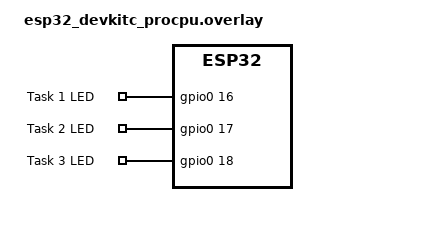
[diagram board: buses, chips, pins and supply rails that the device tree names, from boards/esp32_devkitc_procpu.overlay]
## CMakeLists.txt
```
cmake_minimum_required(VERSION 3.20.0)

find_package(Zephyr REQUIRED HINTS $ENV{ZEPHYR_BASE})
project(pcp_app)

zephyr_linker_sources(DATA_SECTIONS data-sections-ram.ld)
zephyr_linker_sources(SECTIONS sections-rom.ld)

target_sources(app PRIVATE src/main.c src/tasks.c src/critical_section.c src/display.c)
```

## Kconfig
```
mainmenu "TDA App"

config NUM_TASKS
  int "Number of tasks"
  default 3

config TASK1_PERIOD_MS
  int "Period of TASK1" 
  default 10000

config TASK1_EXECUTION_TIME_MS
  int "Period of TASK1" 
  default 1000

config TASK1_RELEASE_MS
  int "Period of TASK1" 
  default 0

config TASK1_PRIORITY
  int "Priority of TASK1" 
  default 0

config TASK2_PERIOD_MS
  int "Period of TASK2" 
  default 10000

config TASK2_EXECUTION_TIME_MS
  int "Period of TASK2" 
  default 1000

config TASK2_RELEASE_MS
  int "Period of TASK2" 
  default 0

config TASK2_PRIORITY
  int "Priority of TASK2" 
  default 0

config TASK3_PERIOD_MS
  int "Period of TASK3" 
  default 10000

config TASK3_EXECUTION_TIME_MS
  int "Period of TASK3" 
  default 1000

config TASK3_RELEASE_MS
  int "Period of TASK3" 
  default 0

config TASK3_PRIORITY
  int "Priority of TASK3" 
  default 0

source "Kconfig.zephyr"
```

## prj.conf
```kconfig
CONFIG_GPIO=y
CONFIG_BOOTLOADER_MCUBOOT=y

CONFIG_DISPLAY=y
CONFIG_CHARACTER_FRAMEBUFFER=y
CONFIG_CBPRINTF_FP_SUPPORT=y

# Activate logging to get error/warnings for SSD1306 initialization
#CONFIG_LOG=y
#CONFIG_LOG_DEFAULT_LEVEL=3

# Task Configuration
CONFIG_NUM_TASKS=3

CONFIG_TASK1_PERIOD_MS=15000
CONFIG_TASK1_EXECUTION_TIME_MS=4000
CONFIG_TASK1_RELEASE_MS=3000
CONFIG_TASK1_PRIORITY=0

CONFIG_TASK2_PERIOD_MS=16000
CONFIG_TASK2_EXECUTION_TIME_MS=4000
CONFIG_TASK2_RELEASE_MS=6000
CONFIG_TASK2_PRIORITY=1

CONFIG_TASK3_PERIOD_MS=14000
CONFIG_TASK3_EXECUTION_TIME_MS=6000
CONFIG_TASK3_RELEASE_MS=0
CONFIG_TASK3_PRIORITY=2
```

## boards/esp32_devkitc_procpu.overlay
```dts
/ {
    custom_gpio {
        compatible = "gpio-keys";

        task1_led: task1_led {
            gpios = <&gpio0 16 GPIO_ACTIVE_HIGH>;
            label = "Task 1 LED";
        };
        task2_led: task2_led {
            gpios = <&gpio0 17 GPIO_ACTIVE_HIGH>;
            label = "Task 2 LED";
        };
        task3_led: task3_led {
            gpios = <&gpio0 18 GPIO_ACTIVE_HIGH>;
            label = "Task 3 LED";
        };
    };

    chosen {
        task1_led = &task1_led;
        task2_led = &task2_led;
        task3_led = &task3_led;
        // display = &ssd1306;
    };
};

// Optional: Add your SSD1306 configuration from the previous assignments and uncomment the *display* line above 
```

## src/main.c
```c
#include <zephyr/kernel.h>

#include "tasks.h"
#include "critical_section.h"

K_THREAD_STACK_ARRAY_DEFINE(task_stacks, CONFIG_NUM_TASKS, STACKSIZE);

// Setup Tasks T1, T2, T3
PERIODIC_TASK_SETUP(1);
PERIODIC_TASK_SETUP(2);
PERIODIC_TASK_SETUP(3);

// Setup Resources R1, R2
RESOURCE_SETUP(1);
RESOURCE_SETUP(2);
RESOURCE_SETUP(3);

// Specific Critical Sections
CRITICAL_SECTION_SETUP(T1, R1, 2000, 3000);
CRITICAL_SECTION_SETUP(T1, R2, 1000, 4000);

CRITICAL_SECTION_SETUP(T2, R3, 1000, 2000);
CRITICAL_SECTION_SETUP(T2, R1, 2000, 3000);

CRITICAL_SECTION_SETUP(T3, R1, 1000, 5000);
CRITICAL_SECTION_SETUP(T3, R2, 4000, 5000);

int main()
{
	// Check if tasks are accepted and initialize them (GPIO pin and CS). As Zephyr's dlist can
	// have some overhead, this is kept separate to the thread initialization.
	STRUCT_SECTION_FOREACH(task_params, params) {
		printf("Task %d: blocking time %d\n", params->task_id, blocking_time(params));
		if (acceptance_test(params)) {
			printf("Task %d: accepted\n", params->task_id);
			periodic_task_initialization(params);
		} else {
			printf("Task %d: rejected\n", params->task_id);
		}
	}

	start_time_keeper();
	initialize_priority_ceilings();

	STRUCT_SECTION_FOREACH(task_params, params) {
		if (params->accepted) {
			k_thread_create(params->thread, task_stacks[params->task_id], STACKSIZE,
					params->func, params, NULL, NULL, params->priority, 0,
					K_MSEC(params->release_ms));
		}
	}

	return 0;
}
```

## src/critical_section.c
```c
#include "critical_section.h"
#include "tasks.h"
#include <assert.h>

/* Global array to store pre-calculated resource ceilings */
static int resource_ceilings[3];

/*
 * TODO (Part b): Initialize resource priority ceilings and system ceiling
 */
void initialize_priority_ceilings()
{
    resource_ceilings[0] = 0; 
    resource_ceilings[1] = 0; 
    resource_ceilings[2] = 1;
}

/*
 * TODO (Part b): Locks the resource and elevates priority immediately (IPCP)
 */
int mutex_lock(struct resource_params *r)
{
    k_tid_t current_thread = k_current_get();
    int ceiling = resource_ceilings[r->id - 1];
    int err = k_mutex_lock(r->mutex, K_FOREVER);
    if (err != 0) {
        return err;
    }
    if (k_thread_priority_get(current_thread) > ceiling) {
        k_thread_priority_set(current_thread, ceiling);
    }

    return 0;
}

/*
 * TODO (Part b): Unlock the resource and restore priority
 */
int mutex_unlock(struct resource_params *r, const struct task_params *params)
{
    int err = k_mutex_unlock(r->mutex);
    if (err != 0) {
        return err;
    }
    k_thread_priority_set(k_current_get(), params->priority);

    return 0;
}

/*
 * TODO (Part c): Compute maximum blocking time Bi induced by (I)PCP [cite: 77]
 */
int blocking_time(const struct task_params *params)
{
    int max_b = 0;
    int my_prio = params->priority;

    STRUCT_SECTION_FOREACH(critical_section_params, cs) 
	{
        if (cs->task->priority > my_prio) {
            int ceiling = resource_ceilings[cs->resource->id - 1];
            if (ceiling <= my_prio) {
                int duration = cs->release_time - cs->access_time;
                if (duration > max_b) {
                    max_b = duration;
                }
            }
        }
    }
    return max_b;
}
```

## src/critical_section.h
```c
#pragma once

#include <zephyr/kernel.h>
#include <zephyr/sys/dlist.h>

struct resource_params {
	uint32_t id;
	int priority_ceiling;
	struct k_mutex *mutex;
};

struct task_params;
struct task_critical_section;
struct critical_section_params {
	struct task_params *task;
	struct resource_params *resource;
	struct task_critical_section *task_cs;
	int access_time;
	int release_time;
};

struct task_critical_section {
	struct critical_section_params *cs;
	sys_dnode_t access_node;
	sys_dnode_t release_node;
};

/*
 * @brief Initialize resource priority ceilings and system ceiling
 */
void initialize_priority_ceilings();

/*
 * @brief Blocks the current thread until it is safe to lock the resource
 *
 * The semantic of this method depends on PIP (default), IPCP, or PCP:
 *  - PIP: Utilizes the normal mutex provided by Zephyr (see
 *    https://docs.zephyrproject.org/latest/kernel/services/synchronization/mutexes.html)
 *  - IPCP: Locks the resource if and only if the thread's priority exceeds the system ceiling.
 *    If so, the thread's priority is immediately elevated to the resource ceiling.
 *  - PCP: Locks the resource if and only if the thread's priority exceeds the system ceiling.
 *    If it is unable to do so (i.e., due to priority ceiling blocking), elevate the priority
 *    of the thread that holds the resource associated with the system ceiling.
 */
int mutex_lock(struct resource_params *resource);

/*
 * @brief Unlocks the resource
 *
 * The semantic of this method depends on PIP (default), IPCP, or PCP:
 *  - PIP: Utilizes the normal mutex provided by Zephyr (see
 *    https://docs.zephyrproject.org/latest/kernel/services/synchronization/mutexes.html)
 *  - IPCP & PCP: Unlocks the mutex and resets the thread's priority accordingly.
 */
int mutex_unlock(struct resource_params *resource, const struct task_params *params);

/*
 * @brief Compute the maximum blocking time of the given task under the assumption that
 * all lower-priority tasks are scheduled.
 */
int blocking_time(const struct task_params *params);

#define RESOURCE_SETUP(resource_id)                                                                \
	K_MUTEX_DEFINE(R##resource_id##_mutex);                                                    \
	static STRUCT_SECTION_ITERABLE(resource_params, resource_R##resource_id##_) = {            \
		.id = resource_id, .priority_ceiling = 0, .mutex = &R##resource_id##_mutex};

#define CRITICAL_SECTION_SETUP(task_id, resource_id, t1, t2)                                       \
	__maybe_unused static struct task_critical_section                                         \
		task_##task_id##_cs_##resource_id##_##t1##_##t2##_cs;                              \
	static STRUCT_SECTION_ITERABLE(critical_section_params,                                    \
				       task_##task_id##_cs_##resource_id##_##t1##_##t2##_) = {     \
		.task = &task_##task_id##_params,                                                  \
		.resource = &resource_##resource_id##_,                                            \
		.task_cs = &task_##task_id##_cs_##resource_id##_##t1##_##t2##_cs,                  \
		.access_time = t1,                                                                 \
		.release_time = t2,                                                                \
	};
```

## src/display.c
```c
#include "display.h"

#include <zephyr/kernel.h>

#if DT_HAS_CHOSEN(display)
#include <zephyr/device.h>
#include <zephyr/drivers/display.h>

#include <zephyr/display/cfb.h>
#include <zephyr/drivers/display.h>

#include "tasks.h"
#include "critical_section.h"

#define SSD1306 DT_CHOSEN(display)
static const struct device *dev = DEVICE_DT_GET(SSD1306);

static const uint32_t icon_width = 40;
static const uint32_t icon_height = 40;

int ssd1306_setup(void)
{
	if (!device_is_ready(dev)) {
		printf("ERROR: Display device not ready");
		return -EIO;
	}

	if (display_set_pixel_format(dev, PIXEL_FORMAT_MONO01)) {
		printf("ERROR: Failed to set required pixel format");
		return -EIO;
	}

	if (display_blanking_off(dev)) {
		printf("ERROR: Failed to turn off display blanking");
		return -EIO;
	}

	if (cfb_framebuffer_init(dev)) {
		printf("ERROR: Failed to initialize character framebuffer");
		return -EIO;
	}
	cfb_framebuffer_invert(dev);
	cfb_framebuffer_clear(dev, true);
	return 0;
}
SYS_INIT(ssd1306_setup, APPLICATION, CONFIG_KERNEL_INIT_PRIORITY_DEVICE);

/* @brief Draw bitmap
 *
 * @param dev	  pointer to device structure for driver instance
 * @param bitmap  bitmap of size 40x40
 *
 * @return 0 on success, negative value otherwise
 */
int cfb_draw_bitmap(const struct device *dev, const unsigned char *bitmap,
		    struct cfb_position offset)
{
	struct cfb_position pos;
	uint16_t byteWidth = icon_width / 8;
	for (pos.y = 0; pos.y < icon_height; pos.y++) {
		for (pos.x = 0; pos.x < icon_width; pos.x++) {
			if (bitmap[pos.y * byteWidth + pos.x / 8] & (128 >> (pos.x & 7))) {
				struct cfb_position pos_display = {
					.x = pos.x + offset.x,
					.y = pos.y + offset.y,
				};
				cfb_draw_point(dev, &pos_display);
			}
		}
	}

	return 0;
}

const unsigned char bitmap_x[] = {
	0x00, 0x00, 0x00, 0x00, 0x00, 0x00, 0x00, 0x00, 0x00, 0x00, 0x00, 0x00, 0x00, 0x00, 0x00,
	0x00, 0x00, 0x00, 0x00, 0x00, 0x00, 0xe0, 0x00, 0x01, 0x80, 0x01, 0xf0, 0x00, 0x07, 0xe0,
	0x03, 0xf8, 0x00, 0x0f, 0xf0, 0x07, 0xfc, 0x00, 0x3f, 0xf8, 0x0f, 0xfe, 0x00, 0x7f, 0xf8,
	0x1f, 0xff, 0x00, 0xff, 0xf8, 0x3f, 0xff, 0x81, 0xff, 0xf8, 0x1f, 0xff, 0xc3, 0xff, 0xf8,
	0x0f, 0xff, 0xe7, 0xff, 0xf0, 0x07, 0xff, 0xff, 0xff, 0xe0, 0x03, 0xff, 0xff, 0xff, 0xc0,
	0x01, 0xff, 0xff, 0xff, 0x80, 0x00, 0xff, 0xff, 0xff, 0x00, 0x00, 0x7f, 0xff, 0xfe, 0x00,
	0x00, 0x3f, 0xff, 0xfc, 0x00, 0x00, 0x1f, 0xff, 0xf8, 0x00, 0x00, 0x0f, 0xff, 0xf0, 0x00,
	0x00, 0x0f, 0xff, 0xf0, 0x00, 0x00, 0x1f, 0xff, 0xf8, 0x00, 0x00, 0x3f, 0xff, 0xfc, 0x00,
	0x00, 0x7f, 0xff, 0xfe, 0x00, 0x00, 0xff, 0xff, 0xff, 0x00, 0x01, 0xff, 0xff, 0xff, 0x80,
	0x03, 0xff, 0xff, 0xff, 0xc0, 0x07, 0xff, 0xff, 0xff, 0xf0, 0x0f, 0xff, 0xe7, 0xff, 0xf8,
	0x1f, 0xff, 0xc3, 0xff, 0xfc, 0x1f, 0xff, 0x81, 0xff, 0xfc, 0x1f, 0xff, 0x00, 0xff, 0xf8,
	0x1f, 0xfe, 0x00, 0x3f, 0xf0, 0x1f, 0xfc, 0x00, 0x1f, 0xe0, 0x0f, 0xf8, 0x00, 0x0f, 0xc0,
	0x07, 0xf0, 0x00, 0x07, 0x80, 0x01, 0x80, 0x00, 0x03, 0x00, 0x00, 0x00, 0x00, 0x00, 0x00,
	0x00, 0x00, 0x00, 0x00, 0x00};

const unsigned char bitmap_coffee[] = {
	0x00, 0x00, 0x00, 0x00, 0x00, 0x00, 0x00, 0x00, 0x00, 0x00, 0x00, 0x00, 0x00, 0x00, 0x00,
	0x00, 0x00, 0x00, 0x00, 0x00, 0x00, 0x00, 0x00, 0x00, 0x00, 0x00, 0x00, 0x00, 0x00, 0x00,
	0x00, 0x00, 0x00, 0x00, 0x00, 0x00, 0x0f, 0xff, 0xe0, 0x00, 0x00, 0x70, 0x00, 0x1c, 0x00,
	0x01, 0x8f, 0xff, 0xc6, 0x00, 0x01, 0x3f, 0xff, 0xf2, 0x00, 0x00, 0x3f, 0xff, 0xf9, 0xf0,
	0x01, 0x8f, 0xff, 0xc7, 0xf8, 0x01, 0xc0, 0x00, 0x3f, 0xf8, 0x01, 0xcf, 0xff, 0xff, 0x1c,
	0x01, 0xcf, 0xff, 0xfe, 0x1c, 0x01, 0xdf, 0xff, 0xfe, 0x0c, 0x01, 0xd7, 0xff, 0xfe, 0x0c,
	0x01, 0xb7, 0xff, 0xfe, 0x0c, 0x01, 0xaf, 0xff, 0xfe, 0x0c, 0x01, 0xeb, 0xff, 0xfe, 0x18,
	0x01, 0xd5, 0xff, 0xfe, 0x18, 0x00, 0xf7, 0xff, 0xfc, 0x30, 0x00, 0xeb, 0xff, 0xfc, 0xe0,
	0x00, 0xf5, 0xbf, 0xbf, 0xc0, 0x00, 0x7a, 0xe0, 0xff, 0x80, 0x01, 0x7f, 0xdf, 0xfe, 0x00,
	0x0d, 0xbf, 0xff, 0xf2, 0x40, 0x17, 0xdf, 0xff, 0xef, 0xa0, 0x37, 0xef, 0xff, 0xdf, 0xd0,
	0x37, 0xf7, 0xff, 0xbf, 0xd0, 0x13, 0xfd, 0xfe, 0xff, 0xa0, 0x0c, 0x7f, 0x03, 0xfc, 0xc0,
	0x03, 0x81, 0xfe, 0x07, 0x00, 0x00, 0x7f, 0xc7, 0xf8, 0x00, 0x00, 0x03, 0xff, 0xc0, 0x00,
	0x00, 0x00, 0x00, 0x00, 0x00, 0x00, 0x00, 0x00, 0x00, 0x00, 0x00, 0x00, 0x00, 0x00, 0x00,
	0x00, 0x00, 0x00, 0x00, 0x00};

const unsigned char bitmap_gear[] = {
	0x00, 0x00, 0x00, 0x00, 0x00, 0x00, 0x00, 0x00, 0x00, 0x00, 0x00, 0x00, 0x3e, 0x00, 0x00,
	0x00, 0x00, 0x7e, 0x00, 0x00, 0x00, 0x00, 0x7f, 0x00, 0x00, 0x00, 0x00, 0x7f, 0x00, 0x00,
	0x00, 0xe0, 0xff, 0x07, 0x00, 0x01, 0xf3, 0xff, 0xcf, 0x80, 0x03, 0xff, 0xff, 0xff, 0xc0,
	0x07, 0xff, 0xff, 0xff, 0xe0, 0x03, 0xff, 0xff, 0xff, 0xe0, 0x01, 0xff, 0xff, 0xff, 0xc0,
	0x01, 0xff, 0xff, 0xff, 0x80, 0x01, 0xff, 0xff, 0xff, 0x80, 0x01, 0xff, 0xc1, 0xff, 0x80,
	0x03, 0xff, 0x00, 0xff, 0xc0, 0x1f, 0xfe, 0x00, 0x7f, 0xf0, 0x3f, 0xfc, 0x00, 0x3f, 0xfc,
	0x3f, 0xfc, 0x00, 0x3f, 0xfc, 0x3f, 0xfc, 0x00, 0x3f, 0xfc, 0x3f, 0xfc, 0x00, 0x3f, 0xfc,
	0x3f, 0xfc, 0x00, 0x3f, 0xfc, 0x3f, 0xfe, 0x00, 0x7f, 0xfc, 0x03, 0xff, 0x00, 0x7f, 0xc0,
	0x01, 0xff, 0x81, 0xff, 0xc0, 0x01, 0xff, 0xff, 0xff, 0x80, 0x01, 0xff, 0xff, 0xff, 0x80,
	0x01, 0xff, 0xff, 0xff, 0x80, 0x03, 0xff, 0xff, 0xff, 0xc0, 0x07, 0xff, 0xff, 0xff, 0xe0,
	0x03, 0xff, 0xff, 0xff, 0xe0, 0x01, 0xff, 0xff, 0xff, 0xc0, 0x00, 0xe1, 0xff, 0x87, 0x80,
	0x00, 0x40, 0xff, 0x02, 0x00, 0x00, 0x00, 0x7f, 0x00, 0x00, 0x00, 0x00, 0x7e, 0x00, 0x00,
	0x00, 0x00, 0x7e, 0x00, 0x00, 0x00, 0x00, 0x00, 0x00, 0x00, 0x00, 0x00, 0x00, 0x00, 0x00,
	0x00, 0x00, 0x00, 0x00, 0x00};

const unsigned char *bitmaps[] = {bitmap_x, bitmap_coffee, bitmap_gear};

void ssd1306_print_resource()
{
	if (!device_is_ready(dev)) {
		printf("ERROR: Display device not ready");
		printf("Check your wiring or try reconnecting your USB cable");
		return;
	}

	cfb_framebuffer_clear(dev, false);
	STRUCT_SECTION_FOREACH(critical_section_params, cs) {
		if (cs->resource->mutex->owner == cs->task->thread) {
			struct cfb_position offset = {
				.x = 2 + ((cs->resource->id - 1) % 3) * icon_width,
				.y = 12,
			};
			cfb_draw_bitmap(dev, bitmaps[(cs->task->task_id - 1) % 3], offset);
		}
	}

	cfb_framebuffer_finalize(dev);
}

#else

void ssd1306_print_resource()
{
}

#endif
```

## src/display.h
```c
#pragma once

void ssd1306_print_resource();
```

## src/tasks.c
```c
#include <assert.h>
#include <stdio.h>
#include <zephyr/sys/dlist.h>

#include "tasks.h"
#include "display.h"

/**
 * TODO (Part c): Time-demand analysis for periodic tasks, accounting for (I)PCP blocking time
 * (You can largely reuse your solution of the second practical assignment.)
 */
bool acceptance_test(struct task_params *params)
{
    int Ci = params->execution_time_ms;
    int Pi = params->period_ms;
    int Bi = blocking_time(params); 
    int t = Ci + Bi;
    int prev_t;

    while (t <= Pi) {
        prev_t = t;
        int demand = Ci + Bi;
        STRUCT_SECTION_FOREACH(task_params, hp_task) {
            if (hp_task->priority < params->priority) {
                demand += ((t + hp_task->period_ms - 1) / hp_task->period_ms) * hp_task->execution_time_ms;
            }
        }

        if (demand <= t) {
            params->accepted = true;
            return true;
        }
        
        t = demand;
        if (t == prev_t) break;
    }

    params->accepted = false;
    return false;
}

/**
 * @brief Let LED blink for (roughly) delay_ms.
 *
 * @param params    Task parameters
 * @param duration  Duration in ms
 */
void useless_load_periodic_tasks(struct task_params *params, int32_t duration)
{
	assert(params->execution_time_ms % BLINK_PERIOD_MS == 0 && BLINK_PERIOD_MS % 2 == 0);
	ssd1306_print_resource();

	for (int32_t d = 0; d < duration; d += BLINK_PERIOD_MS) {
		printf(" Task %d (prio %d)\n", params->task_id,
		       k_thread_priority_get(k_current_get()));
		gpio_pin_set_dt(params->led, 1);
		k_busy_wait(BLINK_PERIOD_MS * 1000 / 2);
		gpio_pin_set_dt(params->led, 0);
		k_busy_wait(BLINK_PERIOD_MS * 1000 / 2);
	}
}

/*
 * @brief Comparator to sort the double-linked list by the CS access time
 */
int sort_by_access(sys_dnode_t *succ, void *data)
{
	struct critical_section_params *cs = (struct critical_section_params *)data;
	struct task_critical_section *cs_succ = SYS_DLIST_CONTAINER(succ, cs_succ, access_node);
	return cs_succ->cs->access_time > cs->access_time;
}

/*
 * @brief Comparator to sort the double-linked list by the CS release time
 */
int sort_by_release(sys_dnode_t *succ, void *data)
{
	struct critical_section_params *cs = (struct critical_section_params *)data;
	struct task_critical_section *cs_succ = SYS_DLIST_CONTAINER(succ, cs_succ, release_node);
	return cs_succ->cs->release_time > cs->release_time;
}

/*
 * @brief Sort the CS of this task according to their access and release time (respectively)
 * to simplify operation later on, where we have to decide which mutex to lock/unlock.
 */
void initialize_critical_sections(struct task_params *params)
{
	STRUCT_SECTION_FOREACH(critical_section_params, p) {
		if (p->task->task_id == params->task_id) {
			p->task_cs->cs = p;
			sys_dnode_init(&p->task_cs->access_node);
			sys_dlist_insert_at(&params->cs->by_access, &p->task_cs->access_node,
					    sort_by_access, p);
			sys_dnode_init(&p->task_cs->release_node);
			sys_dlist_insert_at(&params->cs->by_release, &p->task_cs->release_node,
					    sort_by_release, p);
		}
	}

	struct task_critical_section *t_cs;
	printf("Critical Sections of Task%d:\n", params->task_id);
	printf(" Sorted by Access: ");
	SYS_DLIST_FOR_EACH_CONTAINER(&params->cs->by_access, t_cs, access_node) {
		struct critical_section_params *c = t_cs->cs;
		printf("R%d[%d, %d] ", c->resource->id, c->access_time, c->release_time);
	}
	printf("\n Sorted by Release: ");
	SYS_DLIST_FOR_EACH_CONTAINER(&params->cs->by_release, t_cs, release_node) {
		struct critical_section_params *c = t_cs->cs;
		printf("R%d[%d, %d] ", c->resource->id, c->access_time, c->release_time);
	}
	printf("\n");
}

/*
 * @brief Initialized the GPIO pin used for the LED
 */
void initialize_gpio(struct task_params *params)
{
	if (!gpio_is_ready_dt(params->led)) {
		return;
	}
	int ret = gpio_pin_configure_dt(params->led, GPIO_OUTPUT_ACTIVE);
	if (ret < 0) {
		return;
	}
}

/*
 * @brief Check if a CS needs to be accessed at this time
 */
struct task_critical_section *check_access_cs(int32_t exec_time, struct task_params *params,
					      struct task_critical_section *next_access)
{
	while (next_access != NULL && exec_time == next_access->cs->access_time) {
		printf(" Task %d requests R%d\n", params->task_id, next_access->cs->resource->id);
		mutex_lock(next_access->cs->resource);
		printf(" Task %d locks R%d\n", params->task_id, next_access->cs->resource->id);
		next_access = SYS_DLIST_PEEK_NEXT_CONTAINER(&params->cs->by_access, next_access,
							    access_node);
	}
	return next_access;
}

/*
 * @brief Check if a CS needs to be released at this time
 */
struct task_critical_section *check_release_cs(int32_t exec_time, struct task_params *params,
					       struct task_critical_section *next_release)
{
	while (next_release != NULL && exec_time == next_release->cs->release_time) {
		printf(" Task %d unlocks R%d\n", params->task_id, next_release->cs->resource->id);
		mutex_unlock(next_release->cs->resource, params);
		next_release = SYS_DLIST_PEEK_NEXT_CONTAINER(&params->cs->by_release, next_release,
							     release_node);
	}
	return next_release;
}

/*
 * @brief Compute the duration for which the thread can continue its execution, before reaching
 * its (i) maximum execution time, (ii) the next CS access time, or (iii) the next CS release time.
 */
int compute_operation_duration(int32_t exec_time, struct task_params *params,
			       struct task_critical_section *next_access,
			       struct task_critical_section *next_release)
{
	int32_t duration = params->execution_time_ms - exec_time;
	if (next_access != NULL) {
		duration = MIN(duration, next_access->cs->access_time - exec_time);
	}
	if (next_release != NULL) {
		duration = MIN(duration, next_release->cs->release_time - exec_time);
	}
	return duration;
}

/**
 * @brief Task initialization, including GPIO and critical section setup
 */
void periodic_task_initialization(struct task_params *params)
{
	initialize_gpio(params);
	initialize_critical_sections(params);
}

/**
 * @brief Dummy task implementation that toggles LED
 */
void periodic_task_implementation(void *p0, void *p1, void *p2)
{
	struct task_params *params = (struct task_params *)p0;

	k_timer_start(params->timer, K_NO_WAIT, K_MSEC(params->period_ms));
	for (int32_t i = 1;; i++) {
		k_timer_status_sync(params->timer);

		struct task_critical_section *next_access = SYS_DLIST_PEEK_HEAD_CONTAINER(
			&params->cs->by_access, next_access, access_node);
		struct task_critical_section *next_release = SYS_DLIST_PEEK_HEAD_CONTAINER(
			&params->cs->by_release, next_release, release_node);

		int32_t duration = 0;
		for (int32_t exec_time = 0; exec_time < params->execution_time_ms;) {
			// check if new CS needs to be requested/locked
			next_access = check_access_cs(exec_time, params, next_access);

			// run until next CS needs to be locked/unlocked
			duration = compute_operation_duration(exec_time, params, next_access,
							      next_release);
			useless_load_periodic_tasks(params, duration);
			exec_time += duration;

			// check if CS needs to be unlocked
			next_release = check_release_cs(exec_time, params, next_release);
		}
	}
}

/**
 * @brief Prints current time in seconds
 */
void print_time()
{
	static int time_sec = 0;
	printf("T = %ds:\n", time_sec);
	time_sec++;
}
K_TIMER_DEFINE(time_keeper, print_time, NULL);

/**
 * @brief Initializes periodic timer interrupt to print time in seconds
 */
void start_time_keeper(void)
{
	k_timer_start(&time_keeper, K_NO_WAIT, K_MSEC(1000));
}
```

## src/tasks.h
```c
#pragma once

#include <zephyr/drivers/gpio.h>
#include <zephyr/kernel.h>
#include "critical_section.h"

#define STACKSIZE       1024
#define BLINK_PERIOD_MS 250

typedef void task_func(void *p0, void *p1, void *p2);

struct sorted_critical_sections {
	sys_dlist_t by_access;
	sys_dlist_t by_release;
};

struct task_params {
	// task specification
	int task_id;
	int priority;
	int32_t release_ms;
	int32_t execution_time_ms;
	int32_t period_ms;
	// critical sections
	struct sorted_critical_sections *cs;
	// optional LED
	const struct gpio_dt_spec *led;
	// helper field
	task_func *func;
	struct k_timer *timer;
	struct k_thread *thread;
	bool accepted;
};

/**
 * @brief Time-demand analysis for periodic tasks, accounting for (I)PCP blocking time
 */
bool acceptance_test(struct task_params *params);

/**
 * @brief Task initialization, including GPIO and critical section setup
 */
void periodic_task_initialization(struct task_params *params);

/**
 * @brief Dummy task implementation that toggles LED
 */
void periodic_task_implementation(void *params, void *p1, void *p2);

/**
 * @brief Initializes periodic timer interrupt to print time in seconds
 */
void start_time_keeper(void);

/**
 * @brief Macro for initializing tasks.
 */
#define PERIODIC_TASK_SETUP(n)                                                                     \
	struct k_thread task##n##_thread;                                                          \
	static const struct gpio_dt_spec task##n##_led =                                           \
		GPIO_DT_SPEC_GET_OR(DT_CHOSEN(task##n##_led), gpios, {0});                         \
	K_TIMER_DEFINE(task##n##_timer, NULL, NULL);                                               \
	static struct sorted_critical_sections task_T##n##_cs = {                                  \
		.by_access = SYS_DLIST_STATIC_INIT(&task_T##n##_cs.by_access),                     \
		.by_release = SYS_DLIST_STATIC_INIT(&task_T##n##_cs.by_release),                   \
	};                                                                                         \
	static STRUCT_SECTION_ITERABLE(task_params, task_T##n##_params) = {                        \
		.task_id = n,                                                                      \
		.priority = CONFIG_TASK##n##_PRIORITY,                                             \
		.release_ms = CONFIG_TASK##n##_RELEASE_MS,                                         \
		.execution_time_ms = CONFIG_TASK##n##_EXECUTION_TIME_MS,                           \
		.period_ms = CONFIG_TASK##n##_PERIOD_MS,                                           \
		.cs = &task_T##n##_cs,                                                             \
		.led = &task##n##_led,                                                             \
		.func = periodic_task_implementation,                                              \
		.timer = &task##n##_timer,                                                         \
		.thread = &task##n##_thread,                                                       \
		.accepted = false,                                                                 \
	};
```
